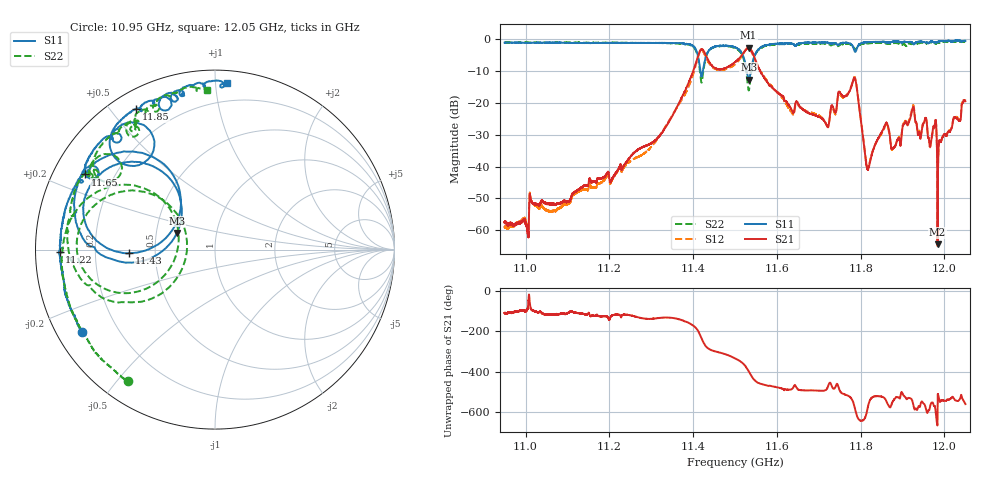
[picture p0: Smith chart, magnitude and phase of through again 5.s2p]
!Agilent Technologies,E8362C,MY49020356,A.09.42.23
!Agilent E8362C: A.09.42.23
!Date: Saturday, September 11, 2021 04:25:06
!Correction: S11(Full 2 Port(1,2))
!S21(Full 2 Port(1,2))
!S12(Full 2 Port(1,2))
!S22(Full 2 Port(1,2))
!S2P File: Measurements: S11, S21, S12, S22:
# Hz S  MA  R 50
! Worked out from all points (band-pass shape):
!   32001 points, 10.95 GHz to 12.05 GHz, reference 50 ohm
!   highest |S21| = -2.79 dB at 11.53 GHz (marker M1); lowest = -64.4 dB at 11.98 GHz (marker M2)
!   |S21| within 3 dB of the highest: 11.41072 GHz to 11.43265 GHz (21.93 MHz wide, 0.192 % of centre); 11.51224 GHz to 11.54619 GHz (33.96 MHz wide, 0.295 % of centre)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
!   lowest |S11| = -12.7 dB at 11.53 GHz (marker M3), VSWR 1.60, Z = 32.1 + j6.23 ohm
!   |S11| at or under -10 dB: 11.41721 GHz to 11.42342 GHz (6.215 MHz wide, 0.0544 % of centre); 11.52803 GHz to 11.5379 GHz (9.864 MHz wide, 0.0855 % of centre)
!   |S22| runs from -16.2 to -0.7 dB; largest |S21 - S12| = 0.048
!   S11 on the Smith chart (normalised r, x): 10.95 GHz: 0.07, -0.28; 11.22 GHz: 0.07, -0.01; 11.43 GHz: 0.35, -0.02; 11.65 GHz: 0.10, +0.27; 11.85 GHz: 0.07, +0.58; 12.05 GHz: 0.08, +1.07
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1.095e10  0.8736 -148.1  0.001334 -108.6  0.001108 -110.5  0.875 -123.5
1.113336e10  0.8603 -168.9  0.004689 -111.3  0.004253 -118.3  0.8709 -144.0
1.121713e10  0.8656 -179.2  0.008214 -116.6  0.007953 -118.9  0.8705 -155.1
1.131668e10  0.8632 166.4  0.02858 -133.9  0.02811 -125.9  0.8612 -170.7
1.140729e10  0.6677 126.4  0.434 175.4  0.4073 -179.2  0.6407 145.8
1.14196e10  0.2615 145.3  0.6861 128.0  0.6706 129.2  0.2072 168.0
1.142874e10  0.4778 -177.6  0.5855 90.4  0.5419 91.6  0.4666 -150.9
1.15e10  0.7384 141.2  0.4297 26.1  0.397 28.2  0.7191 160.5
1.153231e10  0.2332 150.4  0.7255 -37.1  0.7133 -36.0  0.1581 169.6
1.153303e10  0.2306 156.5  0.7227 -39.6  0.711 -38.7  0.1561 179.7
1.155648e10  0.6765 178.7  0.3473 -97.3  0.3481 -93.0  0.6861 -157.5
1.165032e10  0.8353 149.9  0.09729 -129.0  0.09316 -123.3  0.8121 166.3
1.168336e10  0.8727 141.8  0.06595 -133.8  0.0695 -130.7  0.8431 159.9
1.172062e10  0.8722 133.8  0.04237 -121.9  0.04193 -123.9  0.8395 150.0
1.178456e10  0.6675 120.4  0.2408 151.7  0.2475 153.7  0.702 137.8
1.181625e10  0.8863 127.8  0.009023 134.1  0.009429 133.8  0.8521 140.7
1.185406e10  0.8983 119.4  0.03869 -168.4  0.03682 -169.0  0.8613 132.2
1.186668e10  0.8762 118.1  0.03956 150.5  0.03783 152.7  0.8434 130.0
1.187878e10  0.9035 116.6  0.01989 177.5  0.01949 -179.1  0.8574 127.9
1.192395e10  0.8615 106.6  0.08296 169.9  0.0879 169.3  0.8394 122.4
1.198362e10  0.8892 102.9  0.0006037 148.8  0.0006074 149.6  0.8731 112.8
1.205e10  0.9285 85.7  0.1053 158.0  0.1097 155.8  0.8836 92.4
